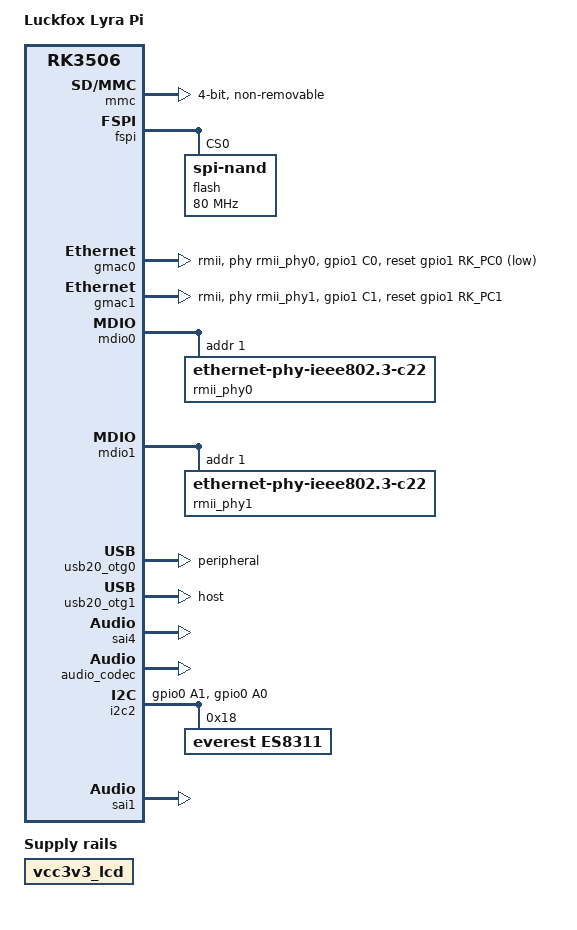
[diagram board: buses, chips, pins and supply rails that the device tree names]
// SPDX-License-Identifier: (GPL-2.0+ OR MIT)
/*
 * Copyright (c) 2024 Rockchip Electronics Co., Ltd.
 */

/dts-v1/;

#include "rk3506-luckfox-lyra-ultra.dtsi"

/ {
	model = "Luckfox Lyra Pi";
	compatible = "rockchip,rk3506g-demo-display-control", "rockchip,rk3506";

	es8311_sound: es8311-sound {
		status = "okay";
		compatible = "simple-audio-card";
		simple-audio-card,format = "i2s";
		simple-audio-card,mclk-fs = <256>;
		simple-audio-card,name = "rockchip,es8311-sound";
		simple-audio-card,cpu {
			sound-dai = <&sai1>;
		};
		simple-audio-card,codec {
			sound-dai = <&es8311>;
		};

	};

	vcc3v3_lcd: vcc3v3-lcd {
		status = "okay";
		compatible = "regulator-fixed";
		pinctrl-names = "default";
		pinctrl-0 = <&lcd_pwren_h>;
		regulator-name = "vcc3v3_lcd";
		regulator-always-on;
	};
};

/**********media**********/
&mmc{
	/* For eMMC */
	max-frequency = <52000000>;
	mmc-ddr-1_8v;
	bus-width = <4>;
	supports-emmc;
	cap-mmc-highspeed;
	disable-wp;
	//no-sd;
	//no-sdio;
	non-removable;
	pinctrl-names = "default";
	pinctrl-0 = <&sdmmc_clk_pins &sdmmc_cmd_pins &sdmmc_bus4_pins>;
	status = "okay";
};

&fspi {
	status = "okay";

	flash@0 {
		compatible = "spi-nand";
		reg = <0>;
		spi-max-frequency = <80000000>;
		spi-rx-bus-width = <4>;
		spi-tx-bus-width = <1>;
	};
};

/**********ethernet**********/
&gmac0 {
	/*
	 * Supply CLK_MAC_OUT as "clk_mac_refout".
	 *
	 * ROOT CAUSE of both Ethernet ports coming up dead from cold boot:
	 * dwmac-rk's rk_gmac_clk_init() asks for "clk_mac_refout" whenever the
	 * interface is RMII and clock_in_out is "output" (our case), and
	 * gmac_clk_enable() prepare_enables it from rk_gmac_powerup(), which runs
	 * BEFORE stmmac_dvr_probe() -> stmmac_mdio_register() performs the PHY
	 * reset. The vendor dtsi never supplies that clock, so the get returned
	 * -ENOENT ("cannot get clock clk_mac_refout") and the 25 MHz PHY reference
	 * was never enabled in the probe path. Both CH182H2 PHYs were therefore
	 * brought out of reset unclocked and stayed dead -- MDIO still answered,
	 * because the PHY register block is clocked by MDC from the MAC, but there
	 * was no autoneg, no carrier and no link LEDs on either port.
	 *
	 * Confirmed on hardware: unbind+rebind of rk_gmac-dwmac (which re-resets
	 * the PHY with the clock already running) brings both ports straight up at
	 * 100Mbps/Full with DHCP leases.
	 *
	 * CLK_MAC_OUT is a single clock shared by both MACs; the clock framework
	 * refcounts the two enables.
	 */
	clocks = <&cru CLK_MAC0>, <&cru CLK_MAC0_PTP>,
		 <&cru PCLK_MAC0>, <&cru ACLK_MAC0>,
		 <&cru CLK_MAC_OUT>;
	clock-names = "stmmaceth", "ptp_ref",
		      "pclk_mac", "aclk_mac",
		      "clk_mac_refout";

	phy-mode = "rmii";
	clock_in_out = "output";

	assigned-clocks = <&cru CLK_MAC_OUT>;
	assigned-clock-rates = <25000000>;

	snps,reset-gpio = <&gpio1 RK_PC0 GPIO_ACTIVE_LOW>;
	snps,reset-active-low;
	/*
	 * Reset timing widened from the vendor's <0 20000 100000>.
	 *
	 * stmmac reads these as <delay-before-assert, assert-duration,
	 * delay-after-deassert>. The vendor value asserts PHY reset with ZERO
	 * delay after gmac_clk_enable() turns on the 25 MHz reference, and then
	 * allows only 100 ms before phylib starts reading/configuring the PHY.
	 * On this board that is too tight: the CH182H2 comes out of reset before
	 * its reference is stable, and the link never negotiates even though MDIO
	 * answers. Evidence: a later phy_init_hw() -- which is what `ip link set
	 * down/up` and a driver rebind both trigger -- brings the link straight up
	 * at 100Mbps/Full, whereas `ethtool -r` (autoneg restart without a PHY
	 * soft reset) never recovers it.
	 *
	 * 20 ms lets the reference clock settle before reset is asserted, and
	 * 300 ms lets the PHY's internal PLL lock before the first MDIO access.
	 * Costs ~0.34 s of boot time per port.
	 */
	snps,reset-delays-us = <20000 20000 300000>;

	pinctrl-names = "default";
	pinctrl-0 = <&eth_clk0_25m_out_pins
			 &eth_rmii0_miim_pins
			 &eth_rmii0_tx_bus2_pins
			 &eth_rmii0_rx_bus2_pins
			 &eth_rmii0_clk_pins
			 &rmii0_rstn>;

	phy-handle = <&rmii_phy0>;
	status = "okay";
};

&gmac1 {
	/*
	 * Supply CLK_MAC_OUT as "clk_mac_refout".
	 *
	 * ROOT CAUSE of both Ethernet ports coming up dead from cold boot:
	 * dwmac-rk's rk_gmac_clk_init() asks for "clk_mac_refout" whenever the
	 * interface is RMII and clock_in_out is "output" (our case), and
	 * gmac_clk_enable() prepare_enables it from rk_gmac_powerup(), which runs
	 * BEFORE stmmac_dvr_probe() -> stmmac_mdio_register() performs the PHY
	 * reset. The vendor dtsi never supplies that clock, so the get returned
	 * -ENOENT ("cannot get clock clk_mac_refout") and the 25 MHz PHY reference
	 * was never enabled in the probe path. Both CH182H2 PHYs were therefore
	 * brought out of reset unclocked and stayed dead -- MDIO still answered,
	 * because the PHY register block is clocked by MDC from the MAC, but there
	 * was no autoneg, no carrier and no link LEDs on either port.
	 *
	 * Confirmed on hardware: unbind+rebind of rk_gmac-dwmac (which re-resets
	 * the PHY with the clock already running) brings both ports straight up at
	 * 100Mbps/Full with DHCP leases.
	 *
	 * CLK_MAC_OUT is a single clock shared by both MACs; the clock framework
	 * refcounts the two enables.
	 */
	clocks = <&cru CLK_MAC1>, <&cru CLK_MAC1_PTP>,
		 <&cru PCLK_MAC1>, <&cru ACLK_MAC1>,
		 <&cru CLK_MAC_OUT>;
	clock-names = "stmmaceth", "ptp_ref",
		      "pclk_mac", "aclk_mac",
		      "clk_mac_refout";

	phy-mode = "rmii";
	clock_in_out = "output";

	snps,reset-gpio = <&gpio1 RK_PC1 GPIO_ACTIVE_HIGH>;
	snps,reset-active-high;
	/*
	 * Reset timing widened from the vendor's <0 20000 100000>.
	 *
	 * stmmac reads these as <delay-before-assert, assert-duration,
	 * delay-after-deassert>. The vendor value asserts PHY reset with ZERO
	 * delay after gmac_clk_enable() turns on the 25 MHz reference, and then
	 * allows only 100 ms before phylib starts reading/configuring the PHY.
	 * On this board that is too tight: the CH182H2 comes out of reset before
	 * its reference is stable, and the link never negotiates even though MDIO
	 * answers. Evidence: a later phy_init_hw() -- which is what `ip link set
	 * down/up` and a driver rebind both trigger -- brings the link straight up
	 * at 100Mbps/Full, whereas `ethtool -r` (autoneg restart without a PHY
	 * soft reset) never recovers it.
	 *
	 * 20 ms lets the reference clock settle before reset is asserted, and
	 * 300 ms lets the PHY's internal PLL lock before the first MDIO access.
	 * Costs ~0.34 s of boot time per port.
	 */
	snps,reset-delays-us = <20000 20000 300000>;

	pinctrl-names = "default";
	pinctrl-0 = <&eth_clk1_25m_out_pins
			 &eth_rmii1_miim_pins
			 &eth_rmii1_tx_bus2_pins
			 &eth_rmii1_rx_bus2_pins
			 &eth_rmii1_clk_pins
			 &rmii1_rstn>;

	phy-handle = <&rmii_phy1>;
	status = "okay";
};

&mdio0 {
	rmii_phy0: phy@1 {
		compatible = "ethernet-phy-ieee802.3-c22";
		reg = <0x1>;
		clocks = <&cru CLK_MAC_OUT>;
		assigned-clocks = <&cru CLK_MAC_OUT>;
		assigned-clock-rates = <25000000>;
	};
};

&mdio1 {
	rmii_phy1: phy@1 {
		compatible = "ethernet-phy-ieee802.3-c22";
		reg = <0x1>;
		clocks = <&cru CLK_MAC_OUT>;
		assigned-clocks = <&cru CLK_MAC_OUT>;
		assigned-clock-rates = <25000000>;
	};
};

/**********usb**********/
&usb20_otg0 {
	dr_mode = "peripheral";
	status = "okay";
};

&usb20_otg1 {
	/*
	 * Luckfox Lyra Pi wires otg1 to the on-board CH334F USB hub, which feeds
	 * the two USB-A ports (J2) and the USB2 pin header (H1). A downstream hub
	 * only enumerates with the controller in host mode; the vendor DTS ships
	 * "otg" here, and with no ID pin or extcon wired on this port dwc2 comes
	 * up as a peripheral and the USB-A ports stay dead. The sibling Lyra Ultra
	 * dtsi uses "host" for the same hub topology.
	 *
	 * USB-C (otg0) is untouched and remains a peripheral/gadget port.
	 */
	dr_mode = "host";
	status = "okay";
};

/**********audio**********/
&sai4 {
	status = "okay";
};

&audio_codec {
	status = "okay";
};

&i2c2 {
	status = "okay";
	pinctrl-names = "default";
	pinctrl-0 = <&rm_io1_i2c2_scl &rm_io0_i2c2_sda>;

	es8311: es8311@18 {
		compatible = "everest,es8311";
		reg = <0x18>;
		clocks = <&mclkout_sai1>;
		clock-names = "mclk";
		assigned-clocks = <&mclkout_sai1>;
		assigned-clock-rates = <12288000>;

		#sound-dai-cells = <0>;
		adc-pga-gain = <6>; /* 18dB */
		adc-volume = <0xbf>; /* 0dB */
		dac-volume = <0xbf>; /* 0dB */
		aec-mode = "adc left, adc right";
	};
};

&sai1 {
	status = "okay";
	pinctrl-names = "default";
	pinctrl-0 = <&rm_io16_sai1_mclk
			 &rm_io17_sai1_sclk
			 &rm_io18_sai1_lrck
			 &rm_io28_sai1_sdi
			 &rm_io29_sai1_sdo0>;
};

/**********pinctrl**********/
&pinctrl {
	ethernet {
		rmii0_rstn: rmii0-rstn {
			rockchip,pins = <1 RK_PC0 RK_FUNC_GPIO &pcfg_pull_up>;
		};

		rmii1_rstn: rmii1-rstn {
			rockchip,pins = <1 RK_PC1 RK_FUNC_GPIO &pcfg_pull_down>;
		};
	};

	lcd {
		lcd_pwren_h: lcd-pwren-h {
			rockchip,pins = <1 RK_PC4 RK_FUNC_GPIO &pcfg_pull_up>;
		};
	};

	rm_io0 {
		rm_io0_i2c2_sda: rm-io0-i2c2-sda {
			rockchip,pins = <0 RK_PA0 35 &pcfg_pull_up>;
		};
	};

	rm_io1 {
		rm_io1_i2c2_scl: rm-io1-i2c2-scl {
			rockchip,pins = <0 RK_PA1 34 &pcfg_pull_up>;
		};
	};

	acodec-dsm {
		/omit-if-no-ref/
		dsm_spk_ctrl: dsm-spk-ctrl {
			rockchip,pins = <1 RK_PC6 RK_FUNC_GPIO &pcfg_pull_none>;
		};
	};

	dsm_aud {
		/omit-if-no-ref/
		dsm_audm1_pins: dsm-audm1-pins {
			rockchip,pins =
				/* dsm_aud_rn_m1 */
				<2 RK_PB4 2 &pcfg_pull_none>,
				/* dsm_aud_rp_m1 */
				<2 RK_PB5 2 &pcfg_pull_none>;
		};

		/omit-if-no-ref/
		dsm_audm1_iodown_pins: dsm-audm1-iodown-pins {
			rockchip,pins =
				/* dsm_aud_rn_m1 */
				<2 RK_PB4 RK_FUNC_GPIO &pcfg_pull_down>,
				/* dsm_aud_rp_m1 */
				<2 RK_PB5 RK_FUNC_GPIO &pcfg_pull_down>;
		};
	};
};
